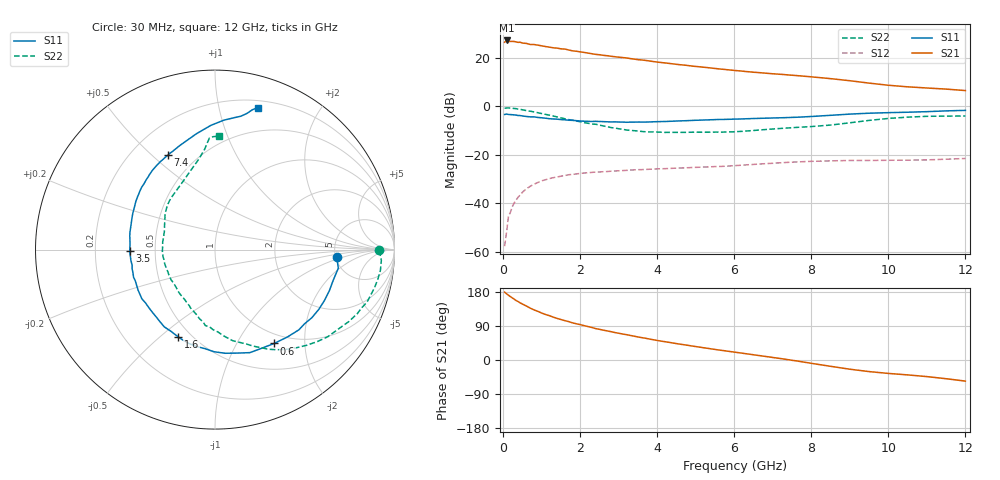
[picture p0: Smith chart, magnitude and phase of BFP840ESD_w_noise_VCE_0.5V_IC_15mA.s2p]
! Infineon Technologies  Discrete & RF Semiconductors
! BFP840ESD
! VCE =  0.5 V,  IC =  15 mA
! Common Emitter S-Parameters:  May 2012
# GHz  S  MA  R  50
!  f  S11  S21  S12  S22
! GHz  MAG  ANG  MAG  ANG  MAG  ANG  MAG  ANG
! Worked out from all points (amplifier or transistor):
!   93 points, 30 MHz to 12 GHz, reference 50 ohm
!   highest |S21| = 27.2 dB at 80 MHz (marker M1)
!   |S21| within 3 dB of that: start of sweep to 1.285 GHz
!   unconditionally stable (mu >= 1): start of sweep to 60.77 MHz; 4.334 GHz to 11.3 GHz
!   at 1.1 GHz: K = 0.33, MSG = 27.5 dB, |S12| = -30.3 dB
!   at 4.2 GHz: K = 0.98, MSG = 21.8 dB, |S12| = -25.7 dB
!   at 12 GHz: K = 0.90, MSG = 14.0 dB, |S12| = -21.5 dB
!   lowest NFmin = 0.99 dB at 450 MHz
!   S11 on the Smith chart (normalised r, x): 30 MHz: 5.13, -0.74; 600 MHz: 0.85, -1.45; 1.6 GHz: 0.43, -0.58; 3.5 GHz: 0.36, -0.01; 7.4 GHz: 0.35, +0.56; 12 GHz: 0.26, +1.32
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0.03  0.6794 -3.3  21.08 179.0  0.0013 71.1  0.9149 -0.3
0.08  0.6948 -8.6  22.95 174.8  0.0025 72.7  0.9287 -3.7
0.13  0.6804 -14.6  21.84 171.0  0.0053 81.0  0.9289 -7.1
0.28  0.6674 -29.9  21.89 160.5  0.0102 74.7  0.9044 -16.1
0.33  0.6599 -35.0  21.41 156.7  0.0117 73.5  0.8964 -19.0
0.43  0.6467 -43.7  21.1 151.0  0.0147 70.3  0.8695 -24.2
0.6  0.6182 -57.8  19.91 142.3  0.02 63.9  0.8162 -33.0
0.7  0.6069 -66.2  18.93 136.6  0.0225 61.8  0.794 -37.7
0.8  0.6061 -71.3  18.9 132.0  0.0248 58.7  0.7669 -41.9
1  0.5803 -84.4  17.72 123.6  0.0291 53.3  0.7094 -50.5
1.3  0.5494 -101.0  16.17 112.9  0.0338 46.0  0.6307 -61.7
1.6  0.5277 -112.9  15.22 103.8  0.0375 40.5  0.5536 -71.7
2.1  0.4938 -134.7  12.98 90.6  0.0421 33.4  0.4594 -87.9
2.6  0.4843 -152.3  11.29 78.6  0.0449 28.7  0.394 -102.8
3.5  0.4751 -178.8  9.19 60.7  0.0493 22.9  0.3096 -131.9
4.1  0.4852 165.9  8.04 49.8  0.0516 19.7  0.2931 -151.3
5  0.5167 148.5  6.663 35.4  0.0551 15.7  0.2935 -176.9
6.1  0.5477 133.7  5.429 19.4  0.0604 12.7  0.3023 159.0
7.4  0.5878 116.6  4.454 0.8  0.0699 5.6  0.3587 138.2
8.5  0.6538 99.1  3.735 -16.7  0.075 -2.7  0.4113 117.3
10.5  0.7572 79.0  2.531 -39.3  0.0775 -14.7  0.599 94.0
12  0.8269 73.1  2.119 -55.7  0.084 -20.3  0.633 88.2
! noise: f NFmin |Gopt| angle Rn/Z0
0.45  0.99  0.16  1  0.14
0.9  1  0.16  3  0.13
1.5  1.01  0.16  7  0.13
1.9  1.02  0.14  11  0.12
2.4  1.02  0.11  16  0.11
3.5  1.03  0.02  54  0.1
5.5  1.06  0.09  -130  0.11
8  1.17  0.3  -112  0.13
10  1.29  0.51  -80  0.23
12  1.5  0.63  -66  0.32
